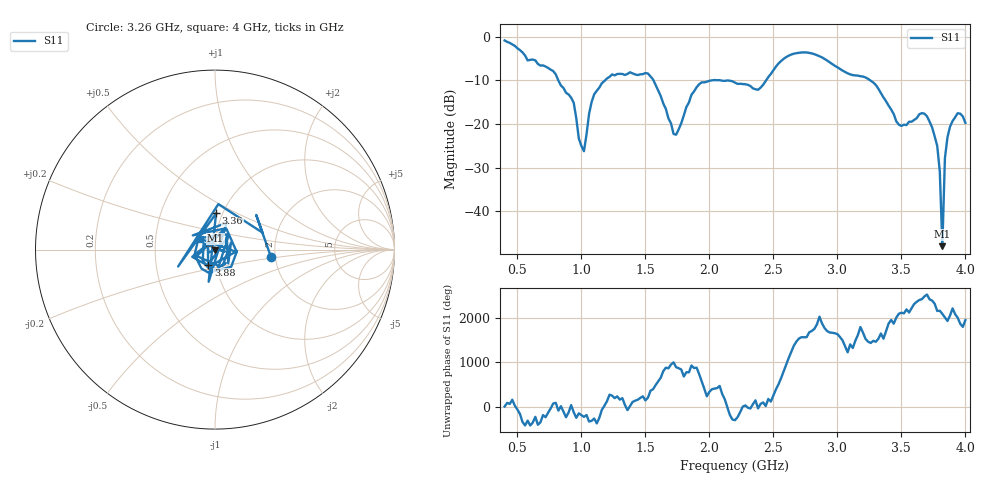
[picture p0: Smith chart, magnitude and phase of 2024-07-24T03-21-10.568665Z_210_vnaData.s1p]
!Created with skrf (http://scikit-rf.org).
# Hz S RI R 50.0
!freq ReS11 ImS11
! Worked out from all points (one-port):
!   181 points, 400 MHz to 4 GHz, reference 50 ohm
!   lowest |S11| = -48.0 dB at 3.82 GHz (marker M1), VSWR 1.01, Z = 50.1 - j0.39 ohm
!   |S11| at or under -10 dB: 819.8 MHz to 1.184 GHz (364.5 MHz wide, 36.4 % of centre); 1.564 GHz to 2.016 GHz (452 MHz wide, 25.3 % of centre); 3.258 GHz to end of sweep (the widest 3 of 4)
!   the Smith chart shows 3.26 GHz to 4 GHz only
!   S11 on the Smith chart (normalised r, x): 3.26 GHz: 1.90, -0.18; 3.36 GHz: 0.93, +0.39; 3.88 GHz: 0.91, -0.16; 4 GHz: 0.84, +0.10
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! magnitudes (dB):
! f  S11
! 400 MHz  -0.8
! 860 MHz  -11.7
! 940 MHz  -15.1
! 980 MHz  -23.3
! 1.02 GHz  -26.2
! 1.06 GHz  -17.6
! 1.1 GHz  -13.2
! 1.3 GHz  -8.5
! 1.52 GHz  -8.4
! 1.72 GHz  -22.3
! 1.76 GHz  -21.2
! 1.92 GHz  -10.9
! 2.2 GHz  -10.5
! 2.38 GHz  -12.1
! 2.66 GHz  -3.9
! 3.1 GHz  -8.6
! 3.26 GHz  -10.0
! 3.36 GHz  -13.9
! 3.48 GHz  -20.1
! 3.56 GHz  -19.5
! 3.68 GHz  -17.6
! 3.78 GHz  -25.0
! 3.8 GHz  -30.9
! 3.82 GHz  -48.0
! 3.84 GHz  -27.8
! 3.88 GHz  -20.6
! 3.94 GHz  -17.5
! 4 GHz  -19.7
